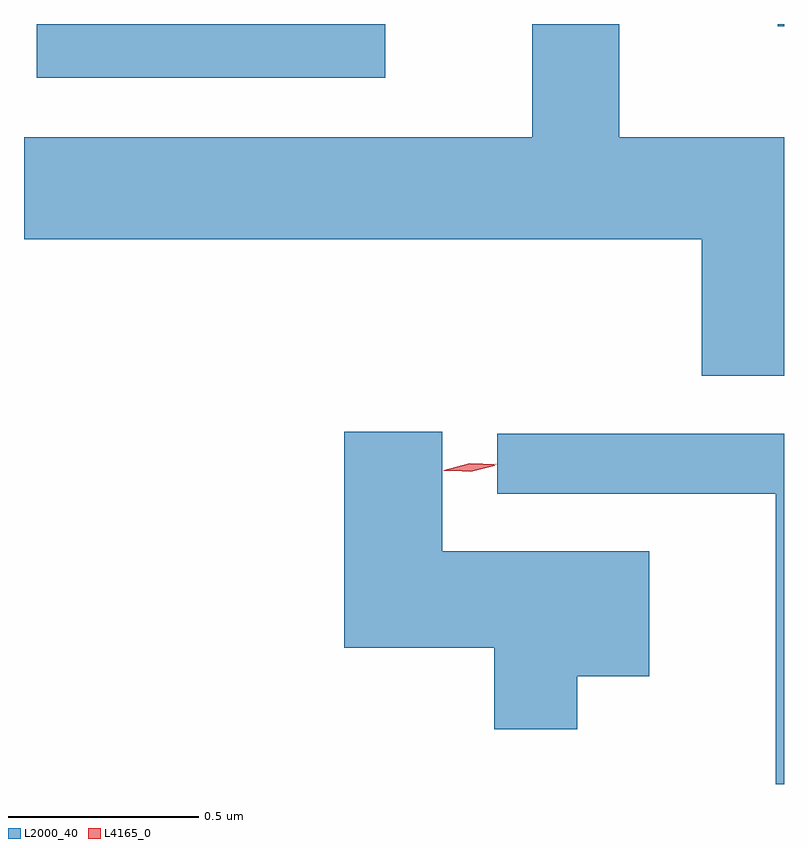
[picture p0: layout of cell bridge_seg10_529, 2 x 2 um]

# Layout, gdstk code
import gdstk
lib = gdstk.Library(unit=1e-6, precision=1e-09)
def R(c, l, rs):  # rectangles x0, y0, x1, y1
    for r in rs: c.add(gdstk.rectangle(r[:2], r[2:], *l))
def P(c, l, *ps):  # polygons
    for p in ps: c.add(gdstk.Polygon(p, *l))
L2000_40 = (2000, 40)
L4165_0 = (4165, 0)

bridge_seg10_529 = lib.new_cell('bridge_seg10_529')
R(bridge_seg10_529, L2000_40, [(878.976,2172.061,879.894,2172.202), (880.926,2172.196,880.943,2172.202)])
P(bridge_seg10_529, L2000_40, [(880.943,2171.904),(880.509,2171.904),(880.509,2172.202),(880.281,2172.202),(880.281,2171.904),(878.943,2171.904),(878.943,2171.636),(880.726,2171.636),(880.726,2171.276),(880.943,2171.276)],
  [(880.399,2170.486),(880.589,2170.486),(880.589,2170.814),(880.044,2170.814),(880.044,2171.129),(879.786,2171.129),(879.786,2170.561),(880.181,2170.561),(880.181,2170.346),(880.399,2170.346)],
  [(880.943,2171.124),(880.188,2171.124),(880.188,2170.966),(880.921,2170.966),(880.921,2170.202),(880.943,2170.202)])
P(bridge_seg10_529, L4165_0, [(880.118,2171.026),(880.048,2171.027),(880.048,2171.028),(880.048,2171.028),(880.116,2171.046),(880.185,2171.044),(880.186,2171.043),(880.185,2171.043)],
  [(880.118,2171.024),(880.051,2171.028),(880.05,2171.028),(880.051,2171.028),(880.115,2171.044),(880.182,2171.041),(880.182,2171.041),(880.182,2171.04)])

lib.write_gds('bridge_seg10_529.gds')
